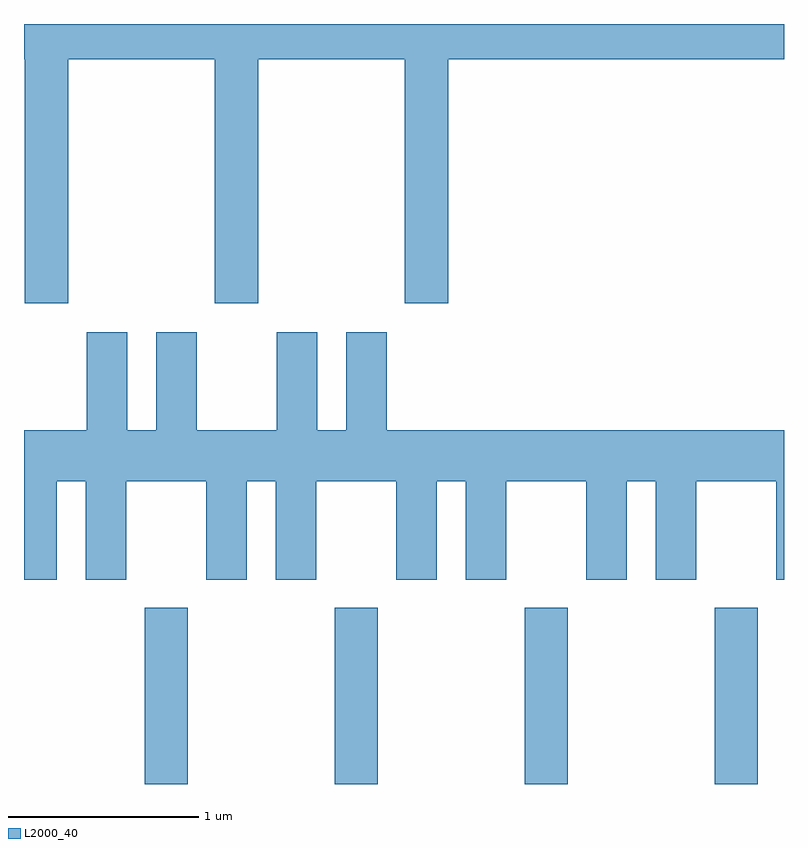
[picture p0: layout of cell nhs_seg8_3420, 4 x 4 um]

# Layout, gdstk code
import gdstk
lib = gdstk.Library(unit=1e-6, precision=1e-09)
def R(c, l, rs):  # rectangles x0, y0, x1, y1
    for r in rs: c.add(gdstk.rectangle(r[:2], r[2:], *l))
def A(c, l, x, y, w, h, nx, ny, dx, dy):  # array of equal rectangles
    R(c, l, [(x+i*dx, y+j*dy, x+i*dx+w, y+j*dy+h) for i in range(nx) for j in range(ny)])
def P(c, l, *ps):  # polygons
    for p in ps: c.add(gdstk.Polygon(p, *l))
L2000_40 = (2000, 40)

nhs_seg8_3420 = lib.new_cell('nhs_seg8_3420')
A(nhs_seg8_3420, L2000_40, 288.246, 1870.342, 0.228, 0.927, 4, 1, 1, 0)
P(nhs_seg8_3420, L2000_40, [(287.844,1874.156),(288.616,1874.156),(288.616,1872.871),(288.844,1872.871),(288.844,1874.156),(289.616,1874.156),(289.616,1872.871),(289.844,1872.871),(289.844,1874.156),(291.611,1874.156),(291.611,1874.342),(287.611,1874.342),(287.611,1874.156),(287.616,1874.156),(287.616,1872.871),(287.844,1872.871)],
  [(287.784,1871.936),(287.936,1871.936),(287.936,1871.416),(288.149,1871.416),(288.149,1871.936),(288.571,1871.936),(288.571,1871.416),(288.784,1871.416),(288.784,1871.936),(288.936,1871.936),(288.936,1871.416),(289.149,1871.416),(289.149,1871.936),(289.571,1871.936),(289.571,1871.416),(289.784,1871.416),(289.784,1871.936),(289.936,1871.936),(289.936,1871.416),(290.149,1871.416),(290.149,1871.936),(290.571,1871.936),(290.571,1871.416),(290.784,1871.416),(290.784,1871.936),(290.936,1871.936),(290.936,1871.416),(291.149,1871.416),(291.149,1871.936),(291.571,1871.936),(291.571,1871.416),(291.611,1871.416),(291.611,1872.204),(289.519,1872.204),(289.519,1872.719),(289.306,1872.719),(289.306,1872.204),(289.154,1872.204),(289.154,1872.719),(288.941,1872.719),(288.941,1872.204),(288.519,1872.204),(288.519,1872.719),(288.306,1872.719),(288.306,1872.204),(288.154,1872.204),(288.154,1872.719),(287.941,1872.719),(287.941,1872.204),(287.611,1872.204),(287.611,1871.416),(287.784,1871.416)])

lib.write_gds('nhs_seg8_3420.gds')
